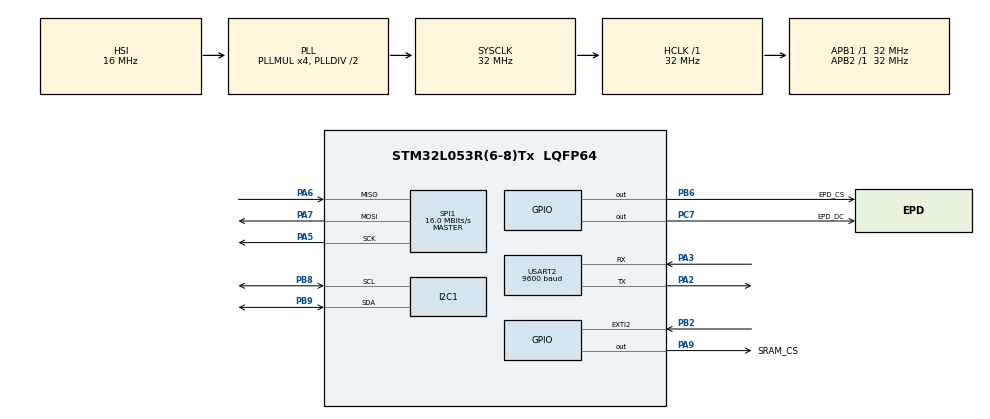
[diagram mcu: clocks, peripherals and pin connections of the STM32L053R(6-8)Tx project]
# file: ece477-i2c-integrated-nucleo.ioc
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Mcu.Family=STM32L0
RCC.MSI_VALUE=2097000
PA6.Mode=Full_Duplex_Master
PA7.Mode=Full_Duplex_Master
SPI1.VirtualType=VM_MASTER
NVIC.TIM6_DAC_IRQn=true\:1\:0\:true\:true\:true\:1\:true\:true
PA9.GPIO_Label=SRAM_CS
TIM6.Prescaler=2097-1
VP_TIM6_VS_ClockSourceINT.Mode=Enable_Timer
PB6.GPIO_Label=EPD_CS
USART2.BaudRate=9600
RCC.SYSCLKSource=RCC_SYSCLKSOURCE_PLLCLK
ProjectManager.StackSize=0x400
PA3.Mode=Asynchronous
PB2.GPIO_ModeDefaultEXTI=GPIO_MODE_IT_FALLING
RCC.HSI16_VALUE=16000000
ProjectManager.TargetToolchain=STM32CubeIDE
SPI1.Direction=SPI_DIRECTION_2LINES
RCC.HCLKFreq_Value=32000000
PB9.Mode=I2C
RCC.APB2TimFreq_Value=32000000
PA9.Signal=GPIO_Output
PB6.Signal=GPIO_Output
I2C1.Timing=0x00707CBB
PC7.Signal=GPIO_Output
SPI1.CalculateBaudRate=16.0 MBits/s
RCC.LSE_VALUE=32768
RCC.AHBFreq_Value=32000000
PA5.Signal=SPI1_SCK
RCC.HSE_VALUE=8000000
PB2.Signal=GPXTI2
board=custom
PC7.GPIO_Speed=GPIO_SPEED_FREQ_MEDIUM
USART2.VirtualMode-Asynchronous=VM_ASYNC
RCC.VCOOutputFreq_Value=64000000
RCC.PLLMUL=RCC_PLLMUL_4
PA7.GPIO_Speed=GPIO_SPEED_FREQ_MEDIUM
NVIC.EXTI2_3_IRQn=true\:1\:0\:true\:false\:true\:true\:true
RCC.APB2Freq_Value=32000000
SPI1.Mode=SPI_MODE_MASTER
TIM6.Period=1000-1
Mcu.Name=STM32L053R(6-8)Tx
PA2.Signal=USART2_TX
PC7.GPIO_Label=EPD_DC
RCC.SYSCLKFreq_VALUE=32000000
Mcu.Package=LQFP64
PB9.Signal=I2C1_SDA
PA6.Signal=SPI1_MISO
ProjectManager.HeapSize=0x200
RCC.HSI_VALUE=16000000
PA5.GPIO_Speed=GPIO_SPEED_FREQ_MEDIUM
PB8.Mode=I2C
RCC.APB1TimFreq_Value=32000000
PA2.Mode=Asynchronous
PB8.Signal=I2C1_SCL
PA6.GPIO_Speed=GPIO_SPEED_FREQ_MEDIUM
PB6.GPIO_Speed=GPIO_SPEED_FREQ_MEDIUM
RCC.APB1Freq_Value=32000000
RCC.HSI48_VALUE=48000000
PA3.Signal=USART2_RX
PA7.Signal=SPI1_MOSI
PA5.Mode=Full_Duplex_Master

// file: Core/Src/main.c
/* USER CODE BEGIN Header */
/**
  ******************************************************************************
  * @file           : main.c
  * @brief          : Main program body
  ******************************************************************************
  * @attention
  *
  * <h2><center>&copy; Copyright (c) 2021 STMicroelectronics.
  * All rights reserved.</center></h2>
  *
  * This software component is licensed by ST under BSD 3-Clause license,
  * the "License"; You may not use this file except in compliance with the
  * License. You may obtain a copy of the License at:
  *                        opensource.org/licenses/BSD-3-Clause
  *
  ******************************************************************************
  */
/* USER CODE END Header */
#include "main.h"
#include "i2c.h"
#include "spi.h"
#include "tim.h"
#include "usart.h"
#include "gpio.h"

/* USER CODE BEGIN Includes */
#include "hts221.h"
#include "bq27441.h"
#include "vcnl4010.h"
#include "serial_print.h"
#include "epd.h"
#include "epd_gfx.h"
/* USER CODE END Includes */

/* USER CODE BEGIN PV */
HTS_Cal * hts_cal_data;
int bq_init_ret;

//TODO - make this an enum? for battery state?
int state = 0;

extern uint8_t *buffer1;
extern uint32_t buffer1_size;

/* USER CODE END PV */

void SystemClock_Config(void);
static void MX_NVIC_Init(void);

int main(void)
{

  /* MCU Configuration--------------------------------------------------------*/

  /* Reset of all peripherals, Initializes the Flash interface and the Systick. */
  HAL_Init();

  /* Configure the system clock */
  SystemClock_Config();

  /* Initialize all configured peripherals */
  MX_GPIO_Init();
  MX_I2C1_Init();
  MX_USART2_UART_Init();
  MX_TIM6_Init();
  MX_SPI1_Init();

  /* Initialize interrupts */
  MX_NVIC_Init();
  /* USER CODE BEGIN 2 */
  serial_clear();
  serial_println("Hello world\n\n");

  serial_printf("Initializing I2C peripherals... ");
  hts_cal_data = hts221_init();
//  bq_init_ret = bq_init();
  VCNL4010_setLEDcurrent(5);
  VCNL4010_enable_Interrupt();
  serial_println("Done!");

  serial_printf("Initializing display... ");
  epd_init(false);
  serial_println("Done!");

  serial_printf("Setting display rotation... ");
  set_rotation(2);
  serial_println("Done!");

  serial_printf("Clearing display buffers... ");
  clear_buffer();
  epd_powerUp();
  write_RAM_to_epd(buffer1, buffer1_size, 1, false);
  display(false);
  serial_println("Done!\n");

  set_text_scale(0);
  set_x_margin(2);
  set_y_margin(2);
  set_cursor(2,2);
  printString("Initializing Peripherals...");
  display(false);

  HAL_TIM_Base_Start_IT(&htim6);

  /* USER CODE END 2 */

  /* Infinite loop */
  while (1)
  {

  }
}

void SystemClock_Config(void)
{
  RCC_OscInitTypeDef RCC_OscInitStruct = {0};
  RCC_ClkInitTypeDef RCC_ClkInitStruct = {0};
  RCC_PeriphCLKInitTypeDef PeriphClkInit = {0};

  /** Configure the main internal regulator output voltage
  */
  __HAL_PWR_VOLTAGESCALING_CONFIG(PWR_REGULATOR_VOLTAGE_SCALE1);
  /** Initializes the RCC Oscillators according to the specified parameters
  * in the RCC_OscInitTypeDef structure.
  */
  RCC_OscInitStruct.OscillatorType = RCC_OSCILLATORTYPE_HSI;
  RCC_OscInitStruct.HSIState = RCC_HSI_ON;
  RCC_OscInitStruct.HSICalibrationValue = RCC_HSICALIBRATION_DEFAULT;
  RCC_OscInitStruct.PLL.PLLState = RCC_PLL_ON;
  RCC_OscInitStruct.PLL.PLLSource = RCC_PLLSOURCE_HSI;
  RCC_OscInitStruct.PLL.PLLMUL = RCC_PLLMUL_4;
  RCC_OscInitStruct.PLL.PLLDIV = RCC_PLLDIV_2;
  if (HAL_RCC_OscConfig(&RCC_OscInitStruct) != HAL_OK)
  {
    Error_Handler();
  }
  /** Initializes the CPU, AHB and APB buses clocks
  */
  RCC_ClkInitStruct.ClockType = RCC_CLOCKTYPE_HCLK|RCC_CLOCKTYPE_SYSCLK
                              |RCC_CLOCKTYPE_PCLK1|RCC_CLOCKTYPE_PCLK2;
  RCC_ClkInitStruct.SYSCLKSource = RCC_SYSCLKSOURCE_PLLCLK;
  RCC_ClkInitStruct.AHBCLKDivider = RCC_SYSCLK_DIV1;
  RCC_ClkInitStruct.APB1CLKDivider = RCC_HCLK_DIV1;
  RCC_ClkInitStruct.APB2CLKDivider = RCC_HCLK_DIV1;

  if (HAL_RCC_ClockConfig(&RCC_ClkInitStruct, FLASH_LATENCY_1) != HAL_OK)
  {
    Error_Handler();
  }
  PeriphClkInit.PeriphClockSelection = RCC_PERIPHCLK_USART2|RCC_PERIPHCLK_I2C1;
  PeriphClkInit.Usart2ClockSelection = RCC_USART2CLKSOURCE_PCLK1;
  PeriphClkInit.I2c1ClockSelection = RCC_I2C1CLKSOURCE_PCLK1;
  if (HAL_RCCEx_PeriphCLKConfig(&PeriphClkInit) != HAL_OK)
  {
    Error_Handler();
  }
}

/**
  * @brief NVIC Configuration.
  * @retval None
  */
static void MX_NVIC_Init(void)
{
  /* TIM6_DAC_IRQn interrupt configuration */
  HAL_NVIC_SetPriority(TIM6_DAC_IRQn, 1, 0);
  HAL_NVIC_EnableIRQ(TIM6_DAC_IRQn);
}

void Error_Handler(void)
{
  __disable_irq();
  while (1)
  {
  }
}

/************************ (C) COPYRIGHT STMicroelectronics *****END OF FILE****/
